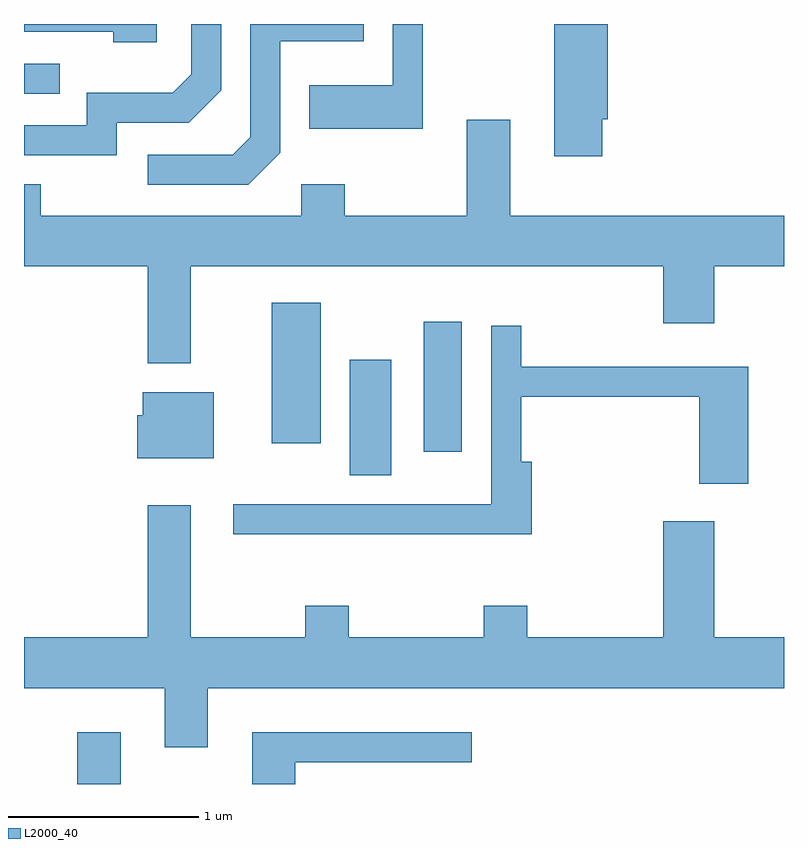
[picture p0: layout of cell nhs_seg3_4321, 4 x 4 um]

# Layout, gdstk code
import gdstk
lib = gdstk.Library(unit=1e-6, precision=1e-09)
def R(c, l, rs):  # rectangles x0, y0, x1, y1
    for r in rs: c.add(gdstk.rectangle(r[:2], r[2:], *l))
def P(c, l, *ps):  # polygons
    for p in ps: c.add(gdstk.Polygon(p, *l))
L2000_40 = (2000, 40)

nhs_seg3_4321 = lib.new_cell('nhs_seg3_4321')
R(nhs_seg3_4321, L2000_40, [(311.891,1189.892,312.119,1190.164), (313.326,1191.516,313.544,1192.124), (313.716,1191.641,313.914,1192.324), (312.916,1191.686,313.174,1192.424), (311.611,1193.526,311.798,1193.684)])
P(nhs_seg3_4321, L2000_40, [(312.099,1193.371),(312.477,1193.371),(312.649,1193.544),(312.649,1193.892),(312.491,1193.892),(312.491,1193.627),(312.394,1193.529),(311.941,1193.529),(311.941,1193.359),(311.611,1193.359),(311.611,1193.201),(312.099,1193.201)],
  [(313.709,1193.892),(313.551,1193.892),(313.551,1193.569),(313.111,1193.569),(313.111,1193.341),(313.709,1193.341)],
  [(312.959,1193.214),(312.959,1193.801),(313.399,1193.801),(313.399,1193.892),(312.801,1193.892),(312.801,1193.297),(312.709,1193.204),(312.263,1193.204),(312.263,1193.046),(312.792,1193.046)],
  [(312.309,1193.892),(311.611,1193.892),(311.611,1193.851),(312.081,1193.851),(312.081,1193.796),(312.309,1193.796)],
  [(314.654,1193.391),(314.684,1193.391),(314.684,1193.892),(314.401,1193.892),(314.401,1193.196),(314.654,1193.196)],
  [(312.489,1192.616),(314.976,1192.616),(314.976,1192.316),(315.244,1192.316),(315.244,1192.616),(315.611,1192.616),(315.611,1192.884),(314.169,1192.884),(314.169,1193.389),(313.941,1193.389),(313.941,1192.884),(313.299,1192.884),(313.299,1193.049),(313.071,1193.049),(313.071,1192.884),(311.699,1192.884),(311.699,1193.049),(311.611,1193.049),(311.611,1192.616),(312.261,1192.616),(312.261,1192.106),(312.489,1192.106)],
  [(314.284,1191.589),(314.229,1191.589),(314.229,1191.931),(315.166,1191.931),(315.166,1191.471),(315.424,1191.471),(315.424,1192.089),(314.229,1192.089),(314.229,1192.303),(314.071,1192.303),(314.071,1191.364),(312.713,1191.364),(312.713,1191.206),(314.284,1191.206)],
  [(312.609,1191.954),(312.236,1191.954),(312.236,1191.834),(312.206,1191.834),(312.206,1191.606),(312.609,1191.606)],
  [(312.579,1190.396),(315.611,1190.396),(315.611,1190.664),(315.244,1190.664),(315.244,1191.274),(314.976,1191.274),(314.976,1190.664),(314.259,1190.664),(314.259,1190.829),(314.031,1190.829),(314.031,1190.664),(313.319,1190.664),(313.319,1190.829),(313.091,1190.829),(313.091,1190.664),(312.489,1190.664),(312.489,1191.359),(312.261,1191.359),(312.261,1190.664),(311.611,1190.664),(311.611,1190.396),(312.351,1190.396),(312.351,1190.086),(312.579,1190.086)],
  [(313.039,1190.006),(313.968,1190.006),(313.968,1190.164),(312.811,1190.164),(312.811,1189.892),(313.039,1189.892)])

lib.write_gds('nhs_seg3_4321.gds')
